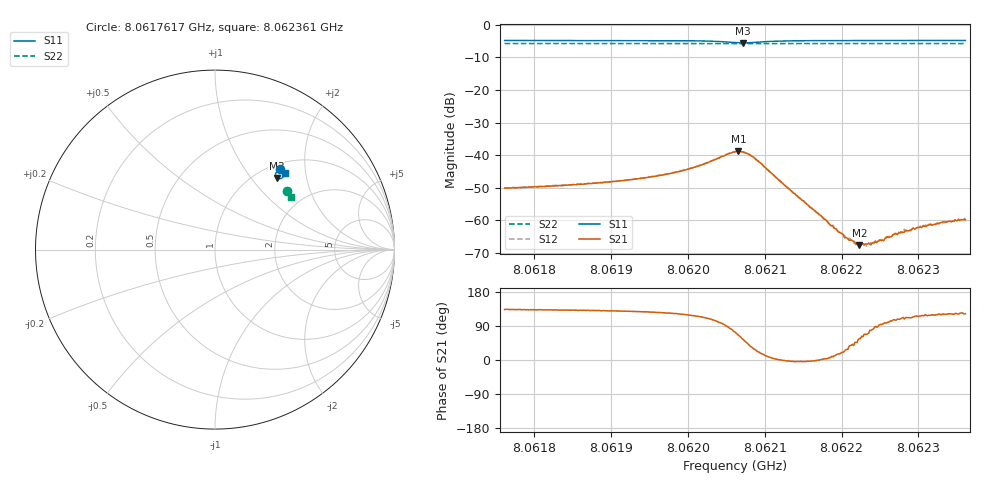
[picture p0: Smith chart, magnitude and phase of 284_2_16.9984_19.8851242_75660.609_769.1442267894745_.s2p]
#  HZ  S  RI  R  50.00
! Rohde & Schwarz Vector Network Analyzer
! Rohde-Schwarz,ZNB20-2Port,1311601062101988,3.16
! Created: UTC 3/20/2024, 11:04:49 PM
! freq[Hz]  re:S11  im:S11  re:S21  im:S21  re:S12  im:S12  re:S22  im:S22
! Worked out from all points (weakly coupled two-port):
!   401 points, 8.0617617 GHz to 8.062361 GHz, reference 50 ohm
!   highest |S21| = -38.86 dB at 8.0620658 GHz (marker M1); lowest = -67.6 dB at 8.0622232 GHz (marker M2)
!   lowest |S11| = -5.5 dB at 8.0620718 GHz (marker M3), VSWR 3.24, Z = 61.2 + j67.9 ohm
!   |S11| at or under -10 dB: nowhere
!   |S22| runs from -5.8 to -5.7 dB; largest |S21 - S12| = 0.00085
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8.06176169e9  0.3618 0.4479  -0.00213 0.00227  -0.00199 0.00241  0.4025 0.3251
8.06186207e9  0.369 0.4419  -0.00235 0.0027  -0.0022 0.00289  0.4062 0.3201
8.06191152e9  0.3728 0.4379  -0.00255 0.00313  -0.00236 0.00329  0.4082 0.3174
8.06196246e9  0.3774 0.4321  -0.00282 0.00397  -0.0026 0.00414  0.4102 0.3149
8.06200891e9  0.3814 0.4217  -0.00293 0.00584  -0.0026 0.00606  0.4117 0.312
8.06206135e9  0.36 0.3946  0.00314 0.0108  0.00395 0.0107  0.4121 0.3086
8.06206584e9  0.3533 0.3953  0.00476 0.0104  0.00539 0.0101  0.4121 0.3085
8.06207183e9  0.3448 0.3998  0.00654 0.00916  0.00717 0.00858  0.412 0.3086
8.06208082e9  0.3374 0.4115  0.00802 0.00613  0.0083 0.00576  0.4119 0.3088
8.06208981e9  0.3379 0.4234  0.00764 0.00332  0.008 0.00288  0.4127 0.3089
8.06216173e9  0.3671 0.4385  0.00152 -6.94e-05  0.00148 -0.000171  0.4166 0.3057
8.06220668e9  0.3743 0.4357  0.000473 0.000252  0.000481 0.000215  0.4184 0.3033
8.06221717e9  0.3755 0.4349  0.000317 0.000333  0.0003 0.00031  0.4188 0.3028
8.06222316e9  0.3762 0.4345  0.000231 0.000349  0.000294 0.000334  0.419 0.3024
8.06223215e9  0.3772 0.4339  0.000168 0.000401  0.000166 0.000365  0.4193 0.3018
8.06224264e9  0.3783 0.4333  3.49e-05 0.000452  7.49e-05 0.000468  0.4196 0.3013
8.06226212e9  0.38 0.432  -0.000104 0.00054  -8.38e-05 0.000565  0.4204 0.3003
8.06226961e9  0.3807 0.4317  -0.000165 0.000608  -0.000119 0.000609  0.4206 0.2999
8.06229508e9  0.3828 0.4301  -0.000308 0.000661  -0.000301 0.000697  0.4216 0.2984
8.06231306e9  0.3842 0.429  -0.000399 0.000746  -0.000353 0.000791  0.4223 0.2975
8.06233104e9  0.3854 0.428  -0.000489 0.000802  -0.000417 0.000812  0.4229 0.2967
8.06236101e9  0.3875 0.4264  -0.000543 0.000868  -0.000514 0.000919  0.4239 0.2949
